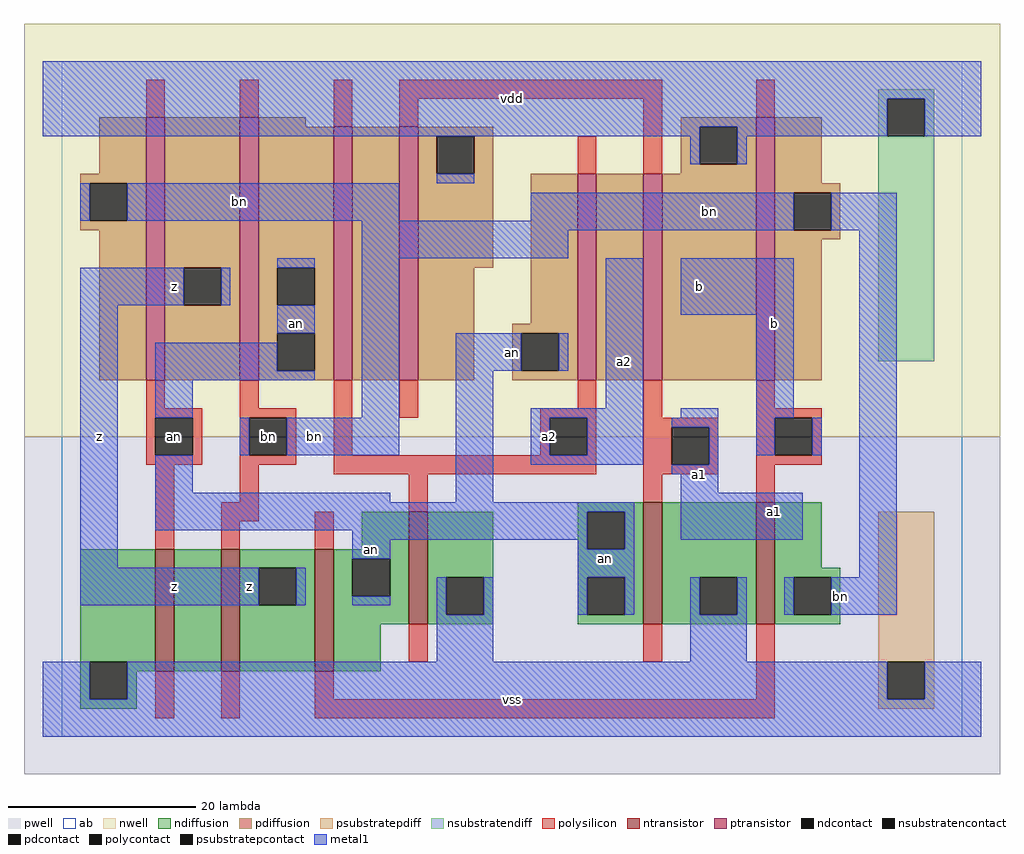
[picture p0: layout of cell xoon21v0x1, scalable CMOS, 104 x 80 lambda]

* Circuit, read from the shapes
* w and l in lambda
.subckt xoon21v0x1 a1 a2 an b bn vdd vss z
M1 n1 an vss vss nfet w=13 l=2
M2 z bn n1 vss nfet w=13 l=2
M3 an b z vss nfet w=13 l=2
M4 vss a2 an vss nfet w=12 l=2
M5 vss a1 an vss nfet w=13 l=2
M6 bn b vss vss nfet w=13 l=2
M7 z an bn vdd pfet w=28 l=2
M8 an bn z vdd pfet w=28 l=2
M9 n2 a2 an vdd pfet w=27 l=2
M10 vdd a1 n2 vdd pfet w=27 l=2
M11 n3 a2 an vdd pfet w=22 l=2
M12 vdd a1 n3 vdd pfet w=22 l=2
M13 bn b vdd vdd pfet w=28 l=2
.ends

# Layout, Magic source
magic
tech scmos
<< ab >>
rect 0 0 96 72
<< pwell >>
rect -4 -4 100 32
<< nwell >>
rect -4 32 100 76
<< polysilicon >>
rect 9 66 11 70
rect 19 66 21 70
rect 29 65 31 70
rect 36 68 64 70
rect 36 65 38 68
rect 55 60 57 64
rect 62 60 64 68
rect 74 66 76 70
rect 9 35 11 38
rect 19 35 21 38
rect 9 34 15 35
rect 9 30 10 34
rect 14 30 15 34
rect 9 29 15 30
rect 19 34 25 35
rect 19 30 20 34
rect 24 30 25 34
rect 19 29 25 30
rect 29 30 31 38
rect 36 34 38 38
rect 55 35 57 38
rect 51 34 57 35
rect 51 30 52 34
rect 56 30 57 34
rect 10 20 12 29
rect 19 25 21 29
rect 29 28 57 30
rect 62 34 64 38
rect 74 35 76 38
rect 74 34 81 35
rect 62 33 70 34
rect 62 29 65 33
rect 69 29 70 33
rect 62 28 70 29
rect 74 30 76 34
rect 80 30 81 34
rect 74 29 81 30
rect 17 23 21 25
rect 37 24 39 28
rect 62 25 64 28
rect 74 25 76 29
rect 17 20 19 23
rect 27 20 29 24
rect 37 8 39 12
rect 62 8 64 12
rect 10 2 12 7
rect 17 2 19 7
rect 27 4 29 7
rect 74 4 76 12
rect 27 2 76 4
<< ndiffusion >>
rect 55 24 62 25
rect 32 20 37 24
rect 2 8 10 20
rect 2 4 3 8
rect 7 7 10 8
rect 12 7 17 20
rect 19 18 27 20
rect 19 14 21 18
rect 25 14 27 18
rect 19 7 27 14
rect 29 19 37 20
rect 29 15 31 19
rect 35 15 37 19
rect 29 12 37 15
rect 39 17 46 24
rect 39 13 41 17
rect 45 13 46 17
rect 39 12 46 13
rect 55 20 56 24
rect 60 20 62 24
rect 55 17 62 20
rect 55 13 56 17
rect 60 13 62 17
rect 55 12 62 13
rect 64 17 74 25
rect 64 13 68 17
rect 72 13 74 17
rect 64 12 74 13
rect 76 18 81 25
rect 76 17 83 18
rect 76 13 78 17
rect 82 13 83 17
rect 76 12 83 13
rect 29 7 34 12
rect 7 4 8 7
rect 2 3 8 4
<< pdiffusion >>
rect 4 60 9 66
rect 2 59 9 60
rect 2 55 3 59
rect 7 55 9 59
rect 2 54 9 55
rect 4 38 9 54
rect 11 50 19 66
rect 11 46 13 50
rect 17 46 19 50
rect 11 38 19 46
rect 21 65 26 66
rect 21 50 29 65
rect 21 46 23 50
rect 27 46 29 50
rect 21 43 29 46
rect 21 39 23 43
rect 27 39 29 43
rect 21 38 29 39
rect 31 38 36 65
rect 38 64 46 65
rect 38 60 40 64
rect 44 60 46 64
rect 66 65 74 66
rect 66 61 68 65
rect 72 61 74 65
rect 66 60 74 61
rect 38 50 46 60
rect 38 38 44 50
rect 50 44 55 60
rect 48 43 55 44
rect 48 39 49 43
rect 53 39 55 43
rect 48 38 55 39
rect 57 38 62 60
rect 64 38 74 60
rect 76 59 81 66
rect 76 58 83 59
rect 76 54 78 58
rect 82 54 83 58
rect 76 53 83 54
rect 76 38 81 53
<< metal1 >>
rect -2 68 98 72
rect -2 65 88 68
rect -2 64 68 65
rect 67 61 68 64
rect 72 64 88 65
rect 92 64 98 68
rect 72 61 73 64
rect 40 59 44 60
rect 2 55 3 59
rect 7 55 36 59
rect 50 55 78 58
rect 32 54 78 55
rect 82 54 89 58
rect 32 51 54 54
rect 23 50 27 51
rect 2 46 13 50
rect 17 46 18 50
rect 2 18 6 46
rect 23 43 27 46
rect 10 39 23 42
rect 10 38 27 39
rect 10 34 14 38
rect 32 34 36 51
rect 19 30 20 34
rect 24 30 36 34
rect 42 39 49 43
rect 53 39 54 43
rect 10 26 14 30
rect 10 25 35 26
rect 42 25 46 39
rect 58 35 62 51
rect 66 45 78 51
rect 50 34 62 35
rect 66 34 70 35
rect 50 30 52 34
rect 56 30 62 34
rect 50 29 62 30
rect 65 33 70 34
rect 69 29 70 33
rect 74 34 78 45
rect 74 30 76 34
rect 80 30 81 34
rect 65 28 70 29
rect 66 26 70 28
rect 10 24 61 25
rect 10 22 56 24
rect 31 21 56 22
rect 31 19 35 21
rect 2 14 21 18
rect 25 14 26 18
rect 55 20 56 21
rect 60 20 61 24
rect 66 21 79 26
rect 55 17 61 20
rect 85 17 89 54
rect 31 14 35 15
rect 40 13 41 17
rect 45 13 46 17
rect 55 13 56 17
rect 60 13 61 17
rect 67 13 68 17
rect 72 13 73 17
rect 77 13 78 17
rect 82 13 89 17
rect 40 8 46 13
rect 67 8 73 13
rect -2 4 3 8
rect 7 4 88 8
rect 92 4 98 8
rect -2 0 98 4
<< ntransistor >>
rect 10 7 12 20
rect 17 7 19 20
rect 27 7 29 20
rect 37 12 39 24
rect 62 12 64 25
rect 74 12 76 25
<< ptransistor >>
rect 9 38 11 66
rect 19 38 21 66
rect 29 38 31 65
rect 36 38 38 65
rect 55 38 57 60
rect 62 38 64 60
rect 74 38 76 66
<< polycontact >>
rect 10 30 14 34
rect 20 30 24 34
rect 52 30 56 34
rect 65 29 69 33
rect 76 30 80 34
<< ndcontact >>
rect 3 4 7 8
rect 21 14 25 18
rect 31 15 35 19
rect 41 13 45 17
rect 56 20 60 24
rect 56 13 60 17
rect 68 13 72 17
rect 78 13 82 17
<< pdcontact >>
rect 3 55 7 59
rect 13 46 17 50
rect 23 46 27 50
rect 23 39 27 43
rect 40 60 44 64
rect 68 61 72 65
rect 49 39 53 43
rect 78 54 82 58
<< psubstratepcontact >>
rect 88 4 92 8
<< nsubstratencontact >>
rect 88 64 92 68
<< psubstratepdiff >>
rect 87 8 93 24
rect 87 4 88 8
rect 92 4 93 8
rect 87 3 93 4
<< nsubstratendiff >>
rect 87 68 93 69
rect 87 64 88 68
rect 92 64 93 68
rect 87 40 93 64
<< labels >>
rlabel polycontact 22 32 22 32 6 bn
rlabel polycontact 12 32 12 32 6 an
rlabel metal1 12 16 12 16 6 z
rlabel metal1 4 32 4 32 6 z
rlabel polycontact 12 32 12 32 6 an
rlabel metal1 12 48 12 48 6 z
rlabel metal1 33 20 33 20 6 an
rlabel metal1 20 16 20 16 6 z
rlabel metal1 27 32 27 32 6 bn
rlabel metal1 25 44 25 44 6 an
rlabel metal1 19 57 19 57 6 bn
rlabel metal1 48 4 48 4 6 vss
rlabel metal1 52 32 52 32 6 a2
rlabel metal1 48 41 48 41 6 an
rlabel metal1 48 68 48 68 6 vdd
rlabel metal1 58 19 58 19 6 an
rlabel metal1 76 24 76 24 6 a1
rlabel metal1 68 28 68 28 6 a1
rlabel metal1 60 40 60 40 6 a2
rlabel metal1 76 44 76 44 6 b
rlabel metal1 68 48 68 48 6 b
rlabel metal1 83 15 83 15 6 bn
rlabel metal1 69 56 69 56 6 bn
<< end >>
